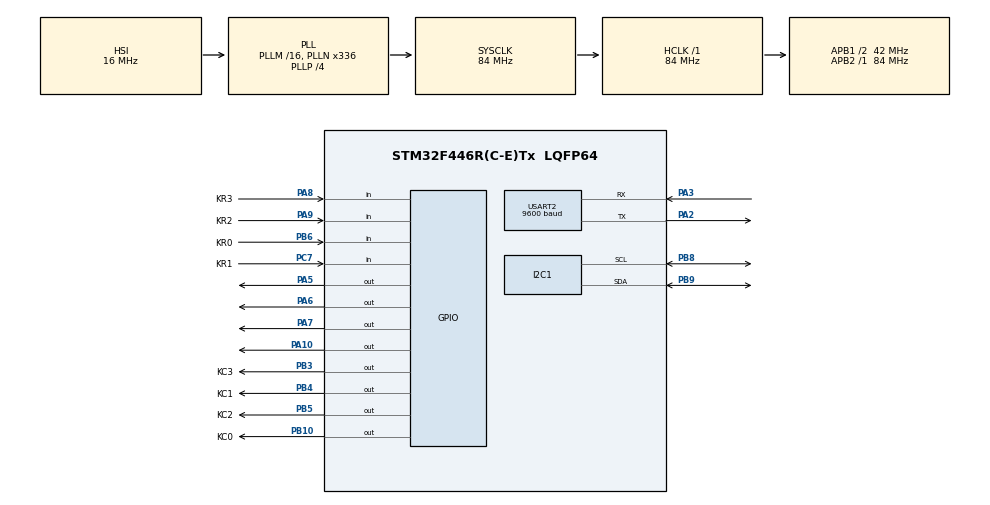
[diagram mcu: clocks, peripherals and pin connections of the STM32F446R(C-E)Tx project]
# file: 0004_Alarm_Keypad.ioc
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FREERTOS.Tasks01=keypadTask,24,128,StartKeypadTask,Default,NULL,Dynamic,NULL,NULL;oledTask,24,128,StartOledTask,Default,NULL,Dynamic,NULL,NULL
FREERTOS.configUSE_NEWLIB_REENTRANT=1
I2C1.I2C_Mode=I2C_Fast
Mcu.Family=STM32F4
Mcu.Name=STM32F446R(C-E)Tx
Mcu.Package=LQFP64
NVIC.PriorityGroup=NVIC_PRIORITYGROUP_4
NVIC.TIM6_DAC_IRQn=true\:0\:0\:false\:false\:true\:false\:false\:true\:true
NVIC.TimeBase=TIM6_DAC_IRQn
NVIC.TimeBaseIP=TIM6
PA10.Signal=GPIO_Output
PA13.Mode=Serial_Wire
PA13.Signal=SYS_JTMS-SWDIO
PA14.Mode=Serial_Wire
PA14.Signal=SYS_JTCK-SWCLK
PA2.Mode=Asynchronous
PA2.Signal=USART2_TX
PA3.Mode=Asynchronous
PA3.Signal=USART2_RX
PA5.Signal=GPIO_Output
PA6.GPIO_Speed=GPIO_SPEED_FREQ_HIGH
PA6.PinState=GPIO_PIN_SET
PA6.Signal=GPIO_Output
PA7.GPIO_Speed=GPIO_SPEED_FREQ_HIGH
PA7.PinState=GPIO_PIN_SET
PA7.Signal=GPIO_Output
PA8.GPIO_Label=KR3
PA8.GPIO_PuPd=GPIO_PULLDOWN
PA8.Signal=GPIO_Input
PA9.GPIO_Label=KR2
PA9.GPIO_PuPd=GPIO_PULLDOWN
PA9.Signal=GPIO_Input
PB10.GPIO_Label=KC0
PB10.Signal=GPIO_Output
PB3.GPIO_Label=KC3
PB3.Signal=GPIO_Output
PB4.GPIO_Label=KC1
PB4.Signal=GPIO_Output
PB5.GPIO_Label=KC2
PB5.Signal=GPIO_Output
PB6.GPIO_Label=KR0
PB6.GPIO_PuPd=GPIO_PULLDOWN
PB6.Signal=GPIO_Input
PB8.Mode=I2C
PB8.Signal=I2C1_SCL
PB9.Mode=I2C
PB9.Signal=I2C1_SDA
PC14-OSC32_IN.Mode=LSE-External-Oscillator
PC14-OSC32_IN.Signal=RCC_OSC32_IN
PC15-OSC32_OUT.Mode=LSE-External-Oscillator
PC15-OSC32_OUT.Signal=RCC_OSC32_OUT
PC7.GPIO_Label=KR1
PC7.GPIO_PuPd=GPIO_PULLDOWN
PC7.Signal=GPIO_Input
PH0-OSC_IN.Mode=HSE-External-Oscillator
PH0-OSC_IN.Signal=RCC_OSC_IN
PH1-OSC_OUT.Mode=HSE-External-Oscillator
PH1-OSC_OUT.Signal=RCC_OSC_OUT
ProjectManager.HeapSize=0x200
ProjectManager.StackSize=0x400
ProjectManager.TargetToolchain=STM32CubeIDE
RCC.48MHZClocksFreq_Value=84000000
RCC.AHBFreq_Value=84000000
RCC.APB1CLKDivider=RCC_HCLK_DIV2
RCC.APB1Freq_Value=42000000
RCC.APB1TimFreq_Value=84000000
RCC.APB2Freq_Value=84000000
RCC.APB2TimFreq_Value=84000000
RCC.CortexFreq_Value=84000000
RCC.FLatency-AdvancedSettings=FLASH_LATENCY_2
RCC.HCLKFreq_Value=84000000
RCC.HSE_VALUE=8000000
RCC.HSI_VALUE=16000000
RCC.PLLN=336
RCC.PLLP=RCC_PLLP_DIV4
RCC.SYSCLKFreq_VALUE=84000000
RCC.SYSCLKSource=RCC_SYSCLKSOURCE_PLLCLK
RCC.USBFreq_Value=168000000
RCC.VCOOutputFreq_Value=336000000
USART2.BaudRate=9600
USART2.VirtualMode=VM_ASYNC
VP_FREERTOS_VS_CMSIS_V2.Mode=CMSIS_V2
VP_SYS_VS_tim6.Mode=TIM6
board=NUCLEO-F446RE

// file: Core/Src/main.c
/* USER CODE BEGIN Header */
/**
  ******************************************************************************
  * @file           : main.c
  * @brief          : Main program body
  ******************************************************************************
  * @attention
  *
  * Copyright (c) 2024 STMicroelectronics.
  * All rights reserved.
  *
  * This software is licensed under terms that can be found in the LICENSE file
  * in the root directory of this software component.
  * If no LICENSE file comes with this software, it is provided AS-IS.
  *
  ******************************************************************************
  */
/* USER CODE END Header */
#include "main.h"
#include "cmsis_os.h"

/* USER CODE BEGIN Includes */
#include "Keypad4X4.h"
#include <stdio.h>
#include <string.h>
#include <stdlib.h>
#include "fonts.h"
#include "ssd1306.h"

/* USER CODE END Includes */

I2C_HandleTypeDef hi2c1;

UART_HandleTypeDef huart2;

/* Definitions for keypadTask */
osThreadId_t keypadTaskHandle;
const osThreadAttr_t keypadTask_attributes = {
  .name = "keypadTask",
  .stack_size = 128 * 4,
  .priority = (osPriority_t) osPriorityNormal,
};
/* Definitions for oledTask */
osThreadId_t oledTaskHandle;
const osThreadAttr_t oledTask_attributes = {
  .name = "oledTask",
  .stack_size = 128 * 4,
  .priority = (osPriority_t) osPriorityNormal,
};
/* USER CODE BEGIN PV */
extern char key;
char hold[4];
char code[8];
char savedCode[8];
uint8_t codeIndex = 0;
uint8_t configMode = 1;
uint8_t armed = 0;
/* USER CODE END PV */

void SystemClock_Config(void);
static void MX_GPIO_Init(void);
static void MX_USART2_UART_Init(void);
static void MX_I2C1_Init(void);
void StartKeypadTask(void *argument);
void StartOledTask(void *argument);

int main(void)
{

  /* MCU Configuration--------------------------------------------------------*/

  /* Reset of all peripherals, Initializes the Flash interface and the Systick. */
  HAL_Init();

  /* Configure the system clock */
  SystemClock_Config();

  /* Initialize all configured peripherals */
  MX_GPIO_Init();
  MX_USART2_UART_Init();
  MX_I2C1_Init();
  /* USER CODE BEGIN 2 */
    /* USER CODE BEGIN 2 */
    SSD1306_Init();
    SSD1306_GotoXY(0, 0);
    //SSD1306_Puts ("Voltage:", &Font_11x18, 1);
    SSD1306_Puts("Enter Code:", &Font_11x18, 1);
    SSD1306_GotoXY(0, 30);
    SSD1306_UpdateScreen();
    SSD1306_UpdateScreen();
    HAL_Delay(500);

  /* USER CODE END 2 */

  /* Init scheduler */
  osKernelInitialize();

  /* Create the thread(s) */
  /* creation of keypadTask */
  keypadTaskHandle = osThreadNew(StartKeypadTask, NULL, &keypadTask_attributes);

  /* creation of oledTask */
  oledTaskHandle = osThreadNew(StartOledTask, NULL, &oledTask_attributes);

  /* Start scheduler */
  osKernelStart();

  /* We should never get here as control is now taken by the scheduler */
  /* Infinite loop */
    while (1) {

    }
}

void SystemClock_Config(void)
{
  RCC_OscInitTypeDef RCC_OscInitStruct = {0};
  RCC_ClkInitTypeDef RCC_ClkInitStruct = {0};

  /** Configure the main internal regulator output voltage
  */
  __HAL_RCC_PWR_CLK_ENABLE();
  __HAL_PWR_VOLTAGESCALING_CONFIG(PWR_REGULATOR_VOLTAGE_SCALE3);

  /** Initializes the RCC Oscillators according to the specified parameters
  * in the RCC_OscInitTypeDef structure.
  */
  RCC_OscInitStruct.OscillatorType = RCC_OSCILLATORTYPE_HSI;
  RCC_OscInitStruct.HSIState = RCC_HSI_ON;
  RCC_OscInitStruct.HSICalibrationValue = RCC_HSICALIBRATION_DEFAULT;
  RCC_OscInitStruct.PLL.PLLState = RCC_PLL_ON;
  RCC_OscInitStruct.PLL.PLLSource = RCC_PLLSOURCE_HSI;
  RCC_OscInitStruct.PLL.PLLM = 16;
  RCC_OscInitStruct.PLL.PLLN = 336;
  RCC_OscInitStruct.PLL.PLLP = RCC_PLLP_DIV4;
  RCC_OscInitStruct.PLL.PLLQ = 2;
  RCC_OscInitStruct.PLL.PLLR = 2;
  if (HAL_RCC_OscConfig(&RCC_OscInitStruct) != HAL_OK)
  {
    Error_Handler();
  }

  /** Initializes the CPU, AHB and APB buses clocks
  */
  RCC_ClkInitStruct.ClockType = RCC_CLOCKTYPE_HCLK|RCC_CLOCKTYPE_SYSCLK
                              |RCC_CLOCKTYPE_PCLK1|RCC_CLOCKTYPE_PCLK2;
  RCC_ClkInitStruct.SYSCLKSource = RCC_SYSCLKSOURCE_PLLCLK;
  RCC_ClkInitStruct.AHBCLKDivider = RCC_SYSCLK_DIV1;
  RCC_ClkInitStruct.APB1CLKDivider = RCC_HCLK_DIV2;
  RCC_ClkInitStruct.APB2CLKDivider = RCC_HCLK_DIV1;

  if (HAL_RCC_ClockConfig(&RCC_ClkInitStruct, FLASH_LATENCY_2) != HAL_OK)
  {
    Error_Handler();
  }
}

static void MX_I2C1_Init(void)
{

  hi2c1.Instance = I2C1;
  hi2c1.Init.ClockSpeed = 400000;
  hi2c1.Init.DutyCycle = I2C_DUTYCYCLE_2;
  hi2c1.Init.OwnAddress1 = 0;
  hi2c1.Init.AddressingMode = I2C_ADDRESSINGMODE_7BIT;
  hi2c1.Init.DualAddressMode = I2C_DUALADDRESS_DISABLE;
  hi2c1.Init.OwnAddress2 = 0;
  hi2c1.Init.GeneralCallMode = I2C_GENERALCALL_DISABLE;
  hi2c1.Init.NoStretchMode = I2C_NOSTRETCH_DISABLE;
  if (HAL_I2C_Init(&hi2c1) != HAL_OK)
  {
    Error_Handler();
  }

}

static void MX_USART2_UART_Init(void)
{

  huart2.Instance = USART2;
  huart2.Init.BaudRate = 9600;
  huart2.Init.WordLength = UART_WORDLENGTH_8B;
  huart2.Init.StopBits = UART_STOPBITS_1;
  huart2.Init.Parity = UART_PARITY_NONE;
  huart2.Init.Mode = UART_MODE_TX_RX;
  huart2.Init.HwFlowCtl = UART_HWCONTROL_NONE;
  huart2.Init.OverSampling = UART_OVERSAMPLING_16;
  if (HAL_UART_Init(&huart2) != HAL_OK)
  {
    Error_Handler();
  }

}

static void MX_GPIO_Init(void)
{
  GPIO_InitTypeDef GPIO_InitStruct = {0};

  /* GPIO Ports Clock Enable */
  __HAL_RCC_GPIOC_CLK_ENABLE();
  __HAL_RCC_GPIOH_CLK_ENABLE();
  __HAL_RCC_GPIOA_CLK_ENABLE();
  __HAL_RCC_GPIOB_CLK_ENABLE();

  /*Configure GPIO pin Output Level */
  HAL_GPIO_WritePin(GPIOA, GPIO_PIN_5|GPIO_PIN_10, GPIO_PIN_RESET);

  /*Configure GPIO pin Output Level */
  HAL_GPIO_WritePin(GPIOA, GPIO_PIN_6|GPIO_PIN_7, GPIO_PIN_RESET);

  /*Configure GPIO pin Output Level */
  HAL_GPIO_WritePin(GPIOB, KC0_Pin|KC3_Pin|KC1_Pin|KC2_Pin, GPIO_PIN_RESET);

  /*Configure GPIO pins : PA5 PA10 */
  GPIO_InitStruct.Pin = GPIO_PIN_5|GPIO_PIN_10;
  GPIO_InitStruct.Mode = GPIO_MODE_OUTPUT_PP;
  GPIO_InitStruct.Pull = GPIO_NOPULL;
  GPIO_InitStruct.Speed = GPIO_SPEED_FREQ_LOW;
  HAL_GPIO_Init(GPIOA, &GPIO_InitStruct);

  /*Configure GPIO pins : PA6 PA7 */
  GPIO_InitStruct.Pin = GPIO_PIN_6|GPIO_PIN_7;
  GPIO_InitStruct.Mode = GPIO_MODE_OUTPUT_PP;
  GPIO_InitStruct.Pull = GPIO_NOPULL;
  GPIO_InitStruct.Speed = GPIO_SPEED_FREQ_HIGH;
  HAL_GPIO_Init(GPIOA, &GPIO_InitStruct);

  /*Configure GPIO pins : KC0_Pin KC3_Pin KC1_Pin KC2_Pin */
  GPIO_InitStruct.Pin = KC0_Pin|KC3_Pin|KC1_Pin|KC2_Pin;
  GPIO_InitStruct.Mode = GPIO_MODE_OUTPUT_PP;
  GPIO_InitStruct.Pull = GPIO_NOPULL;
  GPIO_InitStruct.Speed = GPIO_SPEED_FREQ_LOW;
  HAL_GPIO_Init(GPIOB, &GPIO_InitStruct);

  /*Configure GPIO pin : KR1_Pin */
  GPIO_InitStruct.Pin = KR1_Pin;
  GPIO_InitStruct.Mode = GPIO_MODE_INPUT;
  GPIO_InitStruct.Pull = GPIO_PULLDOWN;
  HAL_GPIO_Init(KR1_GPIO_Port, &GPIO_InitStruct);

  /*Configure GPIO pins : KR3_Pin KR2_Pin */
  GPIO_InitStruct.Pin = KR3_Pin|KR2_Pin;
  GPIO_InitStruct.Mode = GPIO_MODE_INPUT;
  GPIO_InitStruct.Pull = GPIO_PULLDOWN;
  HAL_GPIO_Init(GPIOA, &GPIO_InitStruct);

  /*Configure GPIO pin : KR0_Pin */
  GPIO_InitStruct.Pin = KR0_Pin;
  GPIO_InitStruct.Mode = GPIO_MODE_INPUT;
  GPIO_InitStruct.Pull = GPIO_PULLDOWN;
  HAL_GPIO_Init(KR0_GPIO_Port, &GPIO_InitStruct);

}

/* USER CODE BEGIN 4 */
void setNStars(char *str, int n) {
    for (int i = 0; i < n; i++) {
        str[i] = '*';
    }
}

/* USER CODE END 4 */

void StartKeypadTask(void *argument)
{
  /* USER CODE BEGIN 5 */
    /* Infinite loop */
    for (;;) {
        /* D10 to D7 as input pins for row 0 to row 3. D6 to D3 as output for column pins C1 to C3*/
        key = Get_Key();
        sprintf(hold, "%c", key);
        code[codeIndex] = key;

        // Save the code if the config mode is activated
        if (configMode == 1 && codeIndex > 4) {
            configMode = 0;
            for (int i = 0; i < strlen(code); i++) {
                savedCode[i] = code[i];
            }
            codeIndex = 0;
            HAL_GPIO_WritePin(GPIOA, GPIO_PIN_6, GPIO_PIN_SET);
            HAL_GPIO_WritePin(GPIOA, GPIO_PIN_7, GPIO_PIN_RESET);
        } else if (configMode == 0 && codeIndex > 4) {
            uint8_t sameCode = 1;
            for (int i = 0; i < strlen(code); i++) {
            	// Verify if the code corresponds to the saved code
                if (code[i] != savedCode[i]) {
                    sameCode = 0;
                }
            }
            // If the entered code matches arm or disarm
            if (sameCode == 1) {
                if (armed == 1) {
                    armed = 0;
                    HAL_GPIO_WritePin(GPIOA, GPIO_PIN_6, GPIO_PIN_SET);
                    HAL_GPIO_WritePin(GPIOA, GPIO_PIN_7, GPIO_PIN_RESET);
                } else {
                    armed = 1;
                    HAL_GPIO_WritePin(GPIOA, GPIO_PIN_7, GPIO_PIN_SET);
                    HAL_GPIO_WritePin(GPIOA, GPIO_PIN_6, GPIO_PIN_RESET);
                }
            }
            codeIndex = 0;
        } else {
            codeIndex = codeIndex + 1;
        }

        HAL_UART_Transmit(&huart2, (uint8_t *) hold, strlen(hold), 100);
        HAL_Delay(500);
    }
  /* USER CODE END 5 */
}

void StartOledTask(void *argument)
{
  /* USER CODE BEGIN StartOledTask */
    /* Infinite loop */
    for (;;) {
        if (codeIndex > 0) {
        	if (codeIndex == 1) {
        		SSD1306_GotoXY(0, 30);
        		SSD1306_UpdateScreen();
        		SSD1306_Puts("           ", &Font_16x26, 1);
        	}
            char str[10] = "";
            char str2[8] = "";
            setNStars(str2, codeIndex);
            snprintf(str, sizeof(str2), str2);
            SSD1306_GotoXY(0, 30);
            SSD1306_UpdateScreen();
            SSD1306_Puts(str2, &Font_16x26, 1);
        } else if (configMode == 0) {
            char str[10] = "";
            if (armed == 1) {
                snprintf(str, sizeof(str), "ARMED");
            } else {
                snprintf(str, sizeof(str), "NOT ARMED");
            }
            SSD1306_GotoXY(0, 30);
            SSD1306_UpdateScreen();
            SSD1306_Puts(str, &Font_11x18, 1);
        }
        SSD1306_UpdateScreen();
        osDelay(300);
    }
  /* USER CODE END StartOledTask */
}

void HAL_TIM_PeriodElapsedCallback(TIM_HandleTypeDef *htim)
{
  if (htim->Instance == TIM6) {
    HAL_IncTick();
  }
}

void Error_Handler(void)
{
    __disable_irq();
    while (1) {
    }
}
